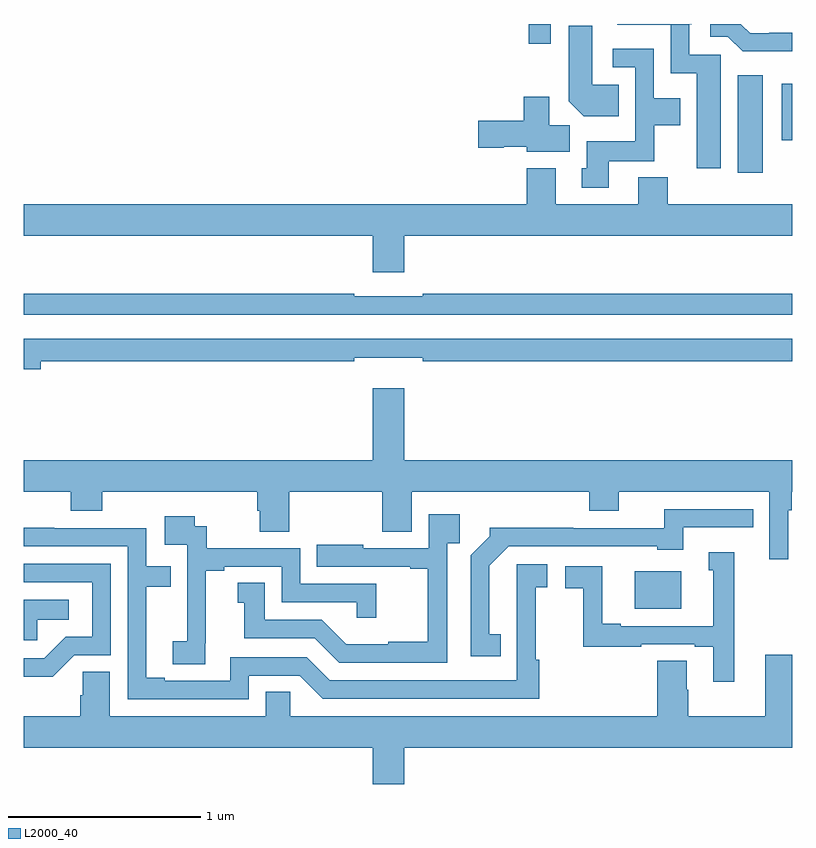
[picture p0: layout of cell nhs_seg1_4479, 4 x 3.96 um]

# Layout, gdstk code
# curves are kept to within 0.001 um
import gdstk
lib = gdstk.Library(unit=1e-6, precision=1e-09)
def R(c, l, rs):  # rectangles x0, y0, x1, y1
    for r in rs: c.add(gdstk.rectangle(r[:2], r[2:], *l))
def P(c, l, *ps):  # polygons
    for p in ps: c.add(gdstk.Polygon(p, *l))
L2000_40 = (2000, 40)

nhs_seg1_4479 = lib.new_cell('nhs_seg1_4479')
R(nhs_seg1_4479, L2000_40, [(358.181,519.155,358.423,519.352), (358.715,521.424,358.846,521.932), (358.946,521.594,359,521.887), (357.628,522.096,357.744,522.199)])
P(nhs_seg1_4479, L2000_40, [(359,522.153),(358.879,522.153),(358.879,522.15),(358.78,522.15),(358.731,522.199),(358.572,522.199),(358.572,522.132),(358.665,522.132),(358.741,522.056),(359,522.056)],
  [(358.627,522.039),(358.464,522.039),(358.464,522.198),(358.477,522.198),(358.477,522.199),(358.089,522.199),(358.089,522.194),(358.368,522.194),(358.368,521.942),(358.502,521.942),(358.502,521.448),(358.627,521.448)],
  [(358.097,521.884),(357.958,521.884),(357.958,522.19),(357.836,522.19),(357.836,521.798),(357.914,521.72),(358.097,521.72)],
  [(358.045,521.486),(358.281,521.486),(358.281,521.672),(358.417,521.672),(358.417,521.812),(358.278,521.812),(358.278,522.069),(358.065,522.069),(358.065,521.973),(358.182,521.973),(358.182,521.59),(357.929,521.59),(357.929,521.448),(357.905,521.448),(357.905,521.346),(358.045,521.346)],
  [(357.841,521.672),(357.736,521.672),(357.736,521.821),(357.602,521.821),(357.602,521.696),(357.366,521.696),(357.366,521.554),(357.498,521.554),(357.498,521.561),(357.618,521.561),(357.618,521.534),(357.841,521.534)],
  [(356.98,521.096),(359,521.096),(359,521.26),(358.352,521.26),(358.352,521.401),(358.199,521.401),(358.199,521.26),(357.769,521.26),(357.769,521.449),(357.617,521.449),(357.617,521.26),(355,521.26),(355,521.096),(356.816,521.096),(356.816,520.908),(356.98,520.908)],
  [(359,520.795),(357.076,520.795),(357.076,520.782),(356.72,520.782),(356.72,520.795),(355,520.795),(355,520.686),(359,520.686)],
  [(355.09,520.444),(356.72,520.444),(356.72,520.463),(357.076,520.463),(357.076,520.444),(359,520.444),(359,520.56),(355,520.56),(355,520.402),(355.09,520.402)],
  [(356.98,520.303),(356.816,520.303),(356.816,519.928),(355,519.928),(355,519.764),(355.244,519.764),(355.244,519.665),(355.409,519.665),(355.409,519.764),(356.216,519.764),(356.216,519.666),(356.228,519.666),(356.228,519.556),(356.381,519.556),(356.381,519.764),(356.867,519.764),(356.867,519.556),(357.019,519.556),(357.019,519.764),(357.944,519.764),(357.944,519.665),(358.096,519.665),(358.096,519.764),(358.881,519.764),(358.881,519.414),(358.978,519.414),(358.978,519.668),(358.997,519.668),(358.997,519.764),(359,519.764),(359,519.928),(356.98,519.928)],
  [(357.482,519.023),(357.424,519.023),(357.424,519.379),(357.525,519.48),(358.296,519.48),(358.296,519.464),(358.432,519.464),(358.432,519.579),(358.796,519.579),(358.796,519.675),(358.333,519.675),(358.333,519.576),(357.86,519.576),(357.86,519.578),(357.426,519.578),(357.426,519.533),(357.327,519.434),(357.327,518.91),(357.482,518.91)],
  [(357.204,519.497),(357.269,519.497),(357.269,519.649),(357.108,519.649),(357.108,519.471),(356.767,519.471),(356.767,519.49),(356.524,519.49),(356.524,519.375),(357.011,519.375),(357.011,519.363),(357.103,519.363),(357.103,518.983),(356.897,518.983),(356.897,518.971),(356.678,518.971),(356.55,519.099),(356.254,519.099),(356.254,519.29),(356.114,519.29),(356.114,519.187),(356.147,519.187),(356.147,519.003),(356.514,519.003),(356.643,518.874),(357.204,518.874)],
  [(355.946,518.977),(355.948,518.977),(355.948,519.355),(356.044,519.355),(356.044,519.375),(356.343,519.375),(356.343,519.189),(356.733,519.189),(356.733,519.108),(356.834,519.108),(356.834,519.285),(356.439,519.285),(356.439,519.471),(355.952,519.471),(355.952,519.585),(355.89,519.585),(355.89,519.637),(355.734,519.637),(355.734,519.489),(355.851,519.489),(355.851,519.185),(355.85,519.185),(355.85,518.988),(355.776,518.988),(355.776,518.866),(355.946,518.866)],
  [(356.172,518.808),(356.436,518.808),(356.556,518.688),(357.683,518.688),(357.683,518.891),(357.666,518.891),(357.666,519.267),(357.724,519.267),(357.724,519.388),(357.566,519.388),(357.567,518.784),(356.592,518.784),(356.472,518.904),(356.076,518.904),(356.076,518.781),(355.735,518.781),(355.735,518.796),(355.639,518.796),(355.639,519.27),(355.766,519.27),(355.766,519.378),(355.638,519.378),(355.638,519.576),(355.16,519.576),(355.16,519.578),(355,519.578),(355,519.48),(355.542,519.48),(355.542,518.685),(356.172,518.685)],
  [(358.699,519.451),(358.565,519.451),(358.565,519.357),(358.589,519.357),(358.589,519.066),(358.108,519.066),(358.108,519.079),(358.012,519.079),(358.012,519.378),(357.819,519.378),(357.819,519.262),(357.913,519.262),(357.913,518.958),(358.214,518.958),(358.214,518.97),(358.493,518.97),(358.493,518.958),(358.589,518.958),(358.589,518.775),(358.699,518.775)],
  [(355.263,518.913),(355.452,518.913),(355.452,519.39),(355,519.39),(355,519.294),(355.356,519.294),(355.356,519.009),(355.218,519.009),(355.107,518.898),(355,518.898),(355,518.801),(355.15,518.801)],
  [(355.071,519.098),(355.234,519.098),(355.234,519.202),(355,519.202),(355,518.991),(355.071,518.991)],
  [(356.98,518.432),(359,518.432),(359,518.692),(358.999,518.692),(358.999,518.917),(358.859,518.917),(358.859,518.596),(358.458,518.596),(358.458,518.735),(358.45,518.735),(358.45,518.885),(358.298,518.885),(358.298,518.596),(356.388,518.596),(356.388,518.723),(356.261,518.723),(356.261,518.596),(355.447,518.596),(355.447,518.828),(355.308,518.828),(355.308,518.705),(355.295,518.705),(355.295,518.596),(355,518.596),(355,518.432),(356.816,518.432),(356.816,518.244),(356.98,518.244)])

lib.write_gds('nhs_seg1_4479.gds')
